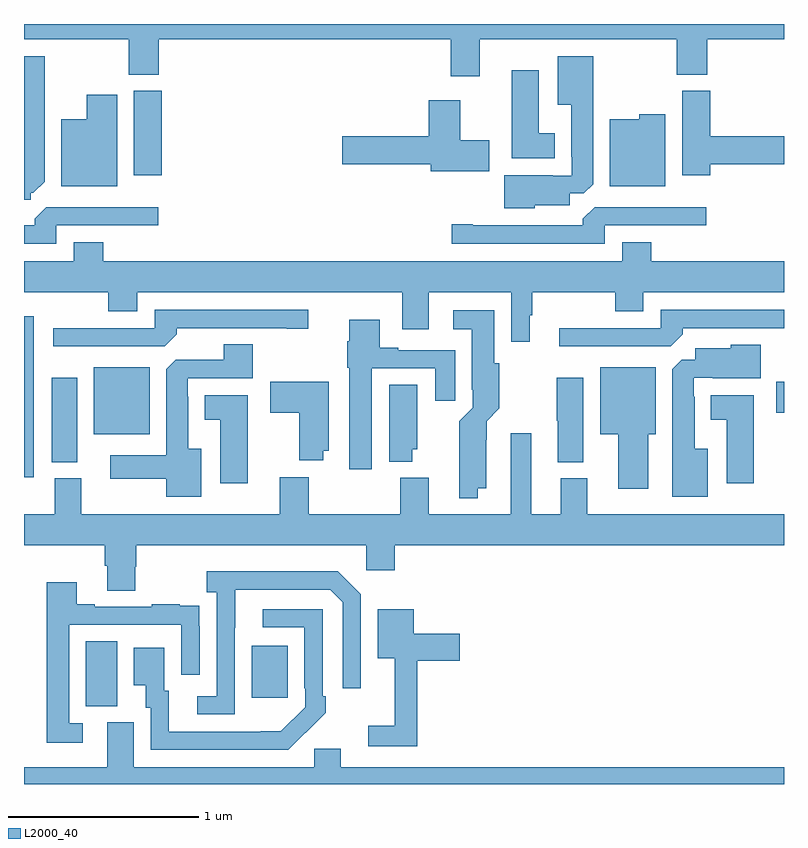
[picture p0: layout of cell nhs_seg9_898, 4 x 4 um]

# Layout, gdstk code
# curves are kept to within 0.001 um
import gdstk
lib = gdstk.Library(unit=1e-6, precision=1e-09)
def R(c, l, rs):  # rectangles x0, y0, x1, y1
    for r in rs: c.add(gdstk.rectangle(r[:2], r[2:], *l))
def P(c, l, *ps):  # polygons
    for p in ps: c.add(gdstk.Polygon(p, *l))
L2000_40 = (2000, 40)

nhs_seg9_898 = lib.new_cell('nhs_seg9_898')
R(nhs_seg9_898, L2000_40, [(159.326,1192.909,159.49,1193.252), (160.199,1192.953,160.387,1193.227), (159,1194.114,159.051,1194.961), (159.146,1194.193,159.28,1194.637), (159.368,1194.341,159.661,1194.694), (162.96,1194.454,163,1194.616), (159.578,1195.704,159.725,1196.148)])
P(nhs_seg9_898, L2000_40, [(161.398,1196.42),(162.436,1196.42),(162.436,1196.233),(162.596,1196.233),(162.596,1196.42),(163,1196.42),(163,1196.5),(159,1196.5),(159,1196.42),(159.55,1196.42),(159.55,1196.233),(159.71,1196.233),(159.71,1196.42),(161.246,1196.42),(161.246,1196.226),(161.398,1196.226)],
  [(159.036,1195.611),(159.049,1195.611),(159.109,1195.671),(159.109,1196.329),(159,1196.329),(159,1195.575),(159.036,1195.575)],
  [(161.688,1195.547),(161.872,1195.547),(161.872,1195.608),(161.946,1195.608),(161.995,1195.657),(161.995,1196.329),(161.81,1196.329),(161.81,1196.075),(161.879,1196.075),(161.879,1195.801),(161.883,1195.801),(161.883,1195.701),(161.783,1195.701),(161.783,1195.705),(161.528,1195.705),(161.528,1195.529),(161.688,1195.529)],
  [(161.794,1195.924),(161.71,1195.924),(161.71,1196.257),(161.567,1196.257),(161.567,1195.793),(161.794,1195.793)],
  [(162.611,1195.763),(163,1195.763),(163,1195.91),(162.611,1195.91),(162.611,1196.148),(162.464,1196.148),(162.464,1195.704),(162.611,1195.704)],
  [(159.49,1196.128),(159.329,1196.128),(159.329,1195.999),(159.197,1195.999),(159.197,1195.646),(159.49,1195.646)],
  [(161.449,1195.887),(161.296,1195.887),(161.296,1196.098),(161.129,1196.098),(161.129,1195.91),(160.674,1195.91),(160.674,1195.763),(161.141,1195.763),(161.141,1195.724),(161.449,1195.724)],
  [(162.376,1196.026),(162.237,1196.026),(162.237,1195.999),(162.083,1195.999),(162.083,1195.646),(162.376,1195.646)],
  [(159.171,1195.44),(159.706,1195.44),(159.706,1195.536),(159.117,1195.536),(159.056,1195.474),(159.056,1195.44),(159,1195.44),(159,1195.344),(159.171,1195.344)],
  [(162.057,1195.44),(162.592,1195.44),(162.592,1195.536),(162.003,1195.536),(161.942,1195.474),(161.942,1195.44),(161.362,1195.44),(161.362,1195.445),(161.25,1195.445),(161.25,1195.344),(162.057,1195.344)],
  [(161.662,1194.966),(161.674,1194.966),(161.674,1195.088),(162.112,1195.088),(162.112,1194.989),(162.259,1194.989),(162.259,1195.088),(163,1195.088),(163,1195.252),(162.302,1195.252),(162.302,1195.351),(162.149,1195.351),(162.149,1195.252),(159.416,1195.252),(159.416,1195.351),(159.263,1195.351),(159.263,1195.252),(159,1195.252),(159,1195.088),(159.443,1195.088),(159.443,1194.989),(159.595,1194.989),(159.595,1195.088),(160.991,1195.088),(160.991,1194.894),(161.131,1194.894),(161.131,1195.088),(161.565,1195.088),(161.565,1194.828),(161.662,1194.828)],
  [(162.467,1194.866),(162.467,1194.9),(163,1194.9),(163,1194.996),(162.351,1194.996),(162.351,1194.9),(161.817,1194.9),(161.817,1194.804),(162.405,1194.804)],
  [(159.803,1194.866),(159.803,1194.9),(160.382,1194.9),(160.382,1194.895),(160.495,1194.895),(160.495,1194.996),(159.687,1194.996),(159.687,1194.9),(159.153,1194.9),(159.153,1194.804),(159.741,1194.804)],
  [(161.389,1194.056),(161.434,1194.056),(161.435,1194.41),(161.502,1194.477),(161.502,1194.714),(161.476,1194.714),(161.476,1194.994),(161.259,1194.994),(161.259,1194.893),(161.357,1194.893),(161.357,1194.574),(161.361,1194.574),(161.361,1194.48),(161.291,1194.41),(161.292,1194.005),(161.389,1194.005)],
  [(160.831,1194.687),(161.165,1194.687),(161.165,1194.516),(161.269,1194.516),(161.269,1194.783),(160.969,1194.783),(160.969,1194.796),(160.873,1194.796),(160.873,1194.943),(160.712,1194.943),(160.712,1194.83),(160.7,1194.83),(160.7,1194.69),(160.712,1194.69),(160.712,1194.156),(160.831,1194.156)],
  [(159.934,1194.265),(159.865,1194.265),(159.865,1194.539),(159.861,1194.539),(159.861,1194.636),(160.205,1194.636),(160.205,1194.815),(160.052,1194.815),(160.052,1194.732),(159.798,1194.732),(159.749,1194.683),(159.749,1194.229),(159.453,1194.229),(159.453,1194.107),(159.749,1194.107),(159.749,1194.011),(159.934,1194.011)],
  [(162.598,1194.265),(162.529,1194.265),(162.529,1194.539),(162.525,1194.539),(162.525,1194.639),(162.625,1194.639),(162.625,1194.635),(162.877,1194.635),(162.877,1194.811),(162.72,1194.811),(162.72,1194.793),(162.533,1194.793),(162.533,1194.732),(162.462,1194.732),(162.413,1194.683),(162.413,1194.011),(162.598,1194.011)],
  [(162.286,1194.341),(162.325,1194.341),(162.325,1194.694),(162.032,1194.694),(162.032,1194.341),(162.128,1194.341),(162.128,1194.054),(162.286,1194.054)],
  [(161.944,1194.637),(161.803,1194.637),(161.803,1194.411),(161.81,1194.411),(161.81,1194.193),(161.944,1194.193)],
  [(160.576,1194.255),(160.603,1194.255),(160.603,1194.616),(160.296,1194.616),(160.296,1194.454),(160.448,1194.454),(160.448,1194.203),(160.576,1194.203)],
  [(161.044,1194.261),(161.071,1194.261),(161.071,1194.602),(160.922,1194.602),(160.922,1194.197),(161.044,1194.197)],
  [(160.177,1194.547),(159.95,1194.547),(159.95,1194.416),(160.034,1194.416),(160.034,1194.084),(160.177,1194.084)],
  [(162.841,1194.547),(162.614,1194.547),(162.614,1194.416),(162.698,1194.416),(162.698,1194.084),(162.841,1194.084)],
  [(159.161,1194.108),(159.161,1193.92),(159,1193.92),(159,1193.756),(159.425,1193.756),(159.425,1193.65),(159.437,1193.65),(159.437,1193.518),(159.585,1193.518),(159.585,1193.643),(159.59,1193.643),(159.59,1193.756),(160.8,1193.756),(160.8,1193.625),(160.952,1193.625),(160.952,1193.756),(163,1193.756),(163,1193.92),(161.965,1193.92),(161.965,1194.108),(161.825,1194.108),(161.825,1193.92),(161.671,1193.92),(161.671,1194.346),(161.561,1194.346),(161.561,1193.92),(161.131,1193.92),(161.131,1194.112),(160.979,1194.112),(160.979,1193.92),(160.499,1193.92),(160.499,1194.115),(160.346,1194.115),(160.346,1193.92),(159.301,1193.92),(159.301,1194.108)],
  [(160.11,1193.323),(160.111,1193.523),(160.611,1193.523),(160.677,1193.457),(160.677,1193.004),(160.773,1193.004),(160.773,1193.499),(160.652,1193.62),(159.963,1193.62),(159.963,1193.51),(160.014,1193.51),(160.014,1192.962),(159.912,1192.962),(159.912,1192.866),(160.11,1192.866)],
  [(159.31,1192.821),(159.237,1192.821),(159.237,1193.337),(159.828,1193.337),(159.828,1193.076),(159.924,1193.076),(159.924,1193.33),(159.923,1193.33),(159.923,1193.439),(159.821,1193.439),(159.821,1193.446),(159.673,1193.446),(159.673,1193.433),(159.373,1193.433),(159.373,1193.446),(159.277,1193.446),(159.277,1193.563),(159.121,1193.563),(159.121,1192.716),(159.31,1192.716)],
  [(160.481,1192.771),(160.482,1192.77),(160.587,1192.875),(160.587,1192.963),(160.572,1192.963),(160.572,1193.421),(160.257,1193.421),(160.257,1193.325),(160.476,1193.325),(160.476,1193.005),(160.479,1193.005),(160.479,1192.905),(160.351,1192.777),(159.763,1192.776),(159.763,1192.992),(159.739,1192.992),(159.739,1193.218),(159.578,1193.218),(159.578,1193.021),(159.641,1193.021),(159.641,1192.902),(159.666,1192.902),(159.666,1192.68),(160.39,1192.68)],
  [(161.069,1193.15),(161.293,1193.15),(161.293,1193.292),(161.05,1193.292),(161.05,1193.419),(160.862,1193.419),(160.862,1193.162),(160.952,1193.162),(160.952,1192.807),(160.812,1192.807),(160.812,1192.698),(161.069,1192.698)],
  [(163,1192.588),(160.666,1192.588),(160.666,1192.686),(160.527,1192.686),(160.527,1192.588),(159.577,1192.588),(159.577,1192.824),(159.437,1192.824),(159.437,1192.588),(159,1192.588),(159,1192.5),(163,1192.5)])

lib.write_gds('nhs_seg9_898.gds')
